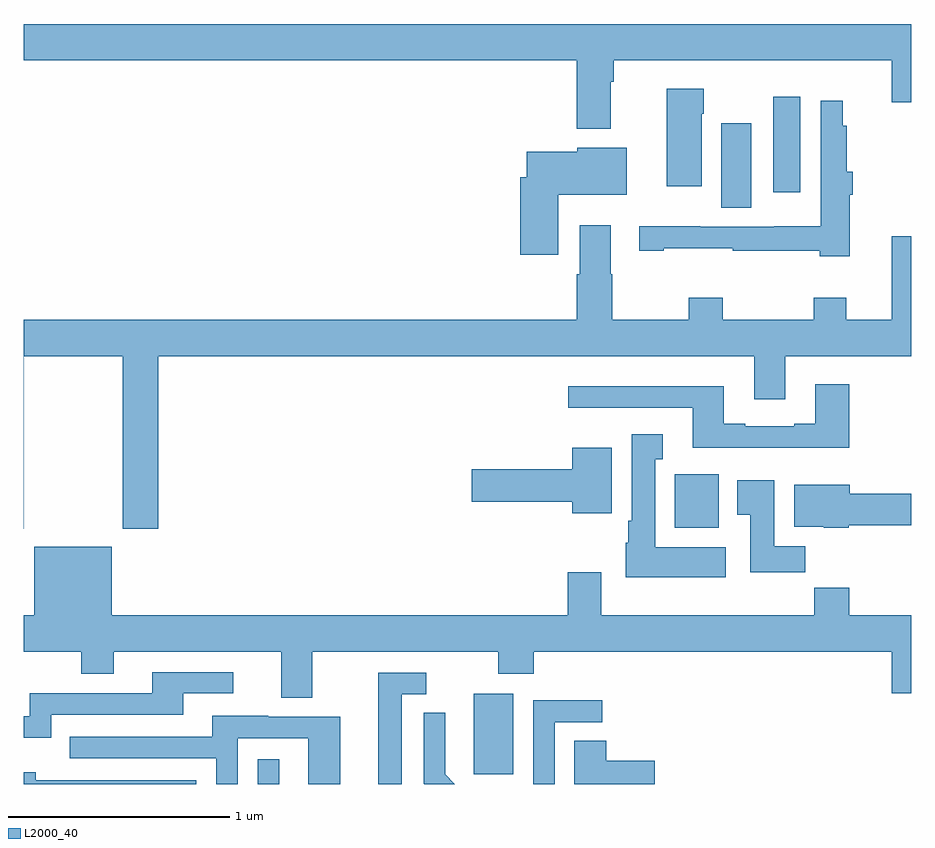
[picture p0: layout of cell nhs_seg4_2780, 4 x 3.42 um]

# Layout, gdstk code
import gdstk
lib = gdstk.Library(unit=1e-6, precision=1e-09)
def R(c, l, rs):  # rectangles x0, y0, x1, y1
    for r in rs: c.add(gdstk.rectangle(r[:2], r[2:], *l))
def P(c, l, *ps):  # polygons
    for p in ps: c.add(gdstk.Polygon(p, *l))
L2000_40 = (2000, 40)

nhs_seg4_2780 = lib.new_cell('nhs_seg4_2780')
R(nhs_seg4_2780, L2000_40, [(258.054,786.9,258.151,787.012), (259.028,786.945,259.207,787.306), (259.934,788.054,260.131,788.296), (260.144,789.496,260.278,789.877), (260.378,789.567,260.5,789.997)])
P(nhs_seg4_2780, L2000_40, [(259.645,790.064),(259.658,790.064),(259.658,790.16),(260.912,790.16),(260.912,789.972),(261,789.972),(261,790.324),(257,790.324),(257,790.16),(259.493,790.16),(259.493,789.851),(259.645,789.851)],
  [(260.056,789.92),(260.064,789.92),(260.064,790.033),(259.898,790.033),(259.898,789.594),(260.056,789.594)],
  [(260.722,789.554),(260.735,789.554),(260.735,789.658),(260.708,789.658),(260.708,789.866),(260.691,789.866),(260.691,789.979),(260.592,789.979),(260.592,789.412),(260.382,789.412),(260.382,789.411),(260.048,789.411),(260.048,789.413),(259.773,789.413),(259.773,789.303),(259.885,789.303),(259.885,789.313),(260.195,789.313),(260.195,789.303),(260.588,789.303),(260.588,789.278),(260.722,789.278)],
  [(259.408,789.554),(259.717,789.554),(259.717,789.766),(259.494,789.766),(259.494,789.748),(259.268,789.748),(259.268,789.633),(259.238,789.633),(259.238,789.285),(259.408,789.285)],
  [(257.001,788.828),(257.446,788.828),(257.446,788.049),(257.606,788.049),(257.606,788.828),(260.291,788.828),(260.291,788.634),(260.431,788.634),(260.431,788.828),(261,788.828),(261,789.367),(260.912,789.367),(260.912,788.992),(260.707,788.992),(260.707,789.091),(260.56,789.091),(260.56,788.992),(260.151,788.992),(260.151,789.091),(259.996,789.091),(259.996,788.992),(259.653,788.992),(259.653,789.197),(259.645,789.197),(259.645,789.418),(259.505,789.418),(259.505,789.197),(259.493,789.197),(259.493,788.992),(257,788.992),(257,788.049),(257.001,788.049)],
  [(260.72,788.701),(260.567,788.701),(260.567,788.524),(260.471,788.524),(260.471,788.511),(260.251,788.511),(260.251,788.524),(260.155,788.524),(260.155,788.692),(259.455,788.692),(259.455,788.595),(260.015,788.595),(260.015,788.414),(260.72,788.414)],
  [(260.164,787.966),(259.846,787.966),(259.846,788.363),(259.879,788.363),(259.879,788.476),(259.739,788.476),(259.739,788.086),(259.724,788.086),(259.724,787.986),(259.712,787.986),(259.712,787.832),(260.164,787.832)],
  [(259.651,788.416),(259.472,788.416),(259.472,788.318),(259.02,788.318),(259.02,788.171),(259.472,788.171),(259.472,788.12),(259.651,788.12)],
  [(260.522,787.972),(260.383,787.972),(260.383,788.269),(260.216,788.269),(260.216,788.113),(260.273,788.113),(260.273,787.854),(260.522,787.854)],
  [(260.718,788.065),(261,788.065),(261,788.207),(260.722,788.207),(260.722,788.248),(260.471,788.248),(260.471,788.06),(260.604,788.06),(260.604,788.054),(260.718,788.054)],
  [(258.301,787.496),(259.138,787.496),(259.138,787.397),(259.298,787.397),(259.298,787.496),(260.912,787.496),(260.912,787.308),(261,787.308),(261,787.66),(260.72,787.66),(260.72,787.784),(260.563,787.784),(260.563,787.66),(259.603,787.66),(259.603,787.855),(259.451,787.855),(259.451,787.66),(257.398,787.66),(257.398,787.969),(257.048,787.969),(257.048,787.66),(257,787.66),(257,787.496),(257.26,787.496),(257.26,787.397),(257.407,787.397),(257.407,787.496),(258.161,787.496),(258.161,787.288),(258.301,787.288)],
  [(257.124,787.212),(257.719,787.212),(257.719,787.308),(257.944,787.308),(257.944,787.404),(257.579,787.404),(257.579,787.308),(257.028,787.308),(257.028,787.206),(257,787.206),(257,787.109),(257.124,787.109)],
  [(258.703,787.305),(258.814,787.305),(258.814,787.401),(258.599,787.401),(258.599,786.9),(258.703,786.9)],
  [(259.392,787.179),(259.606,787.179),(259.606,787.278),(259.296,787.278),(259.296,786.9),(259.392,786.9)],
  [(258.899,786.944),(258.899,787.066),(258.9,787.066),(258.9,787.22),(258.804,787.22),(258.804,786.902),(258.806,786.9),(258.942,786.9)],
  [(257.964,787.107),(258.282,787.107),(258.282,786.9),(258.427,786.9),(258.427,787.203),(258.103,787.203),(258.103,787.207),(257.849,787.207),(257.849,787.113),(257.209,787.113),(257.209,787.017),(257.868,787.017),(257.868,786.9),(257.964,786.9)],
  [(259.843,787.004),(259.625,787.004),(259.625,787.094),(259.481,787.094),(259.481,786.9),(259.843,786.9)],
  [(257.778,786.918),(257.054,786.918),(257.054,786.952),(257,786.952),(257,786.9),(257.778,786.9)])

lib.write_gds('nhs_seg4_2780.gds')
